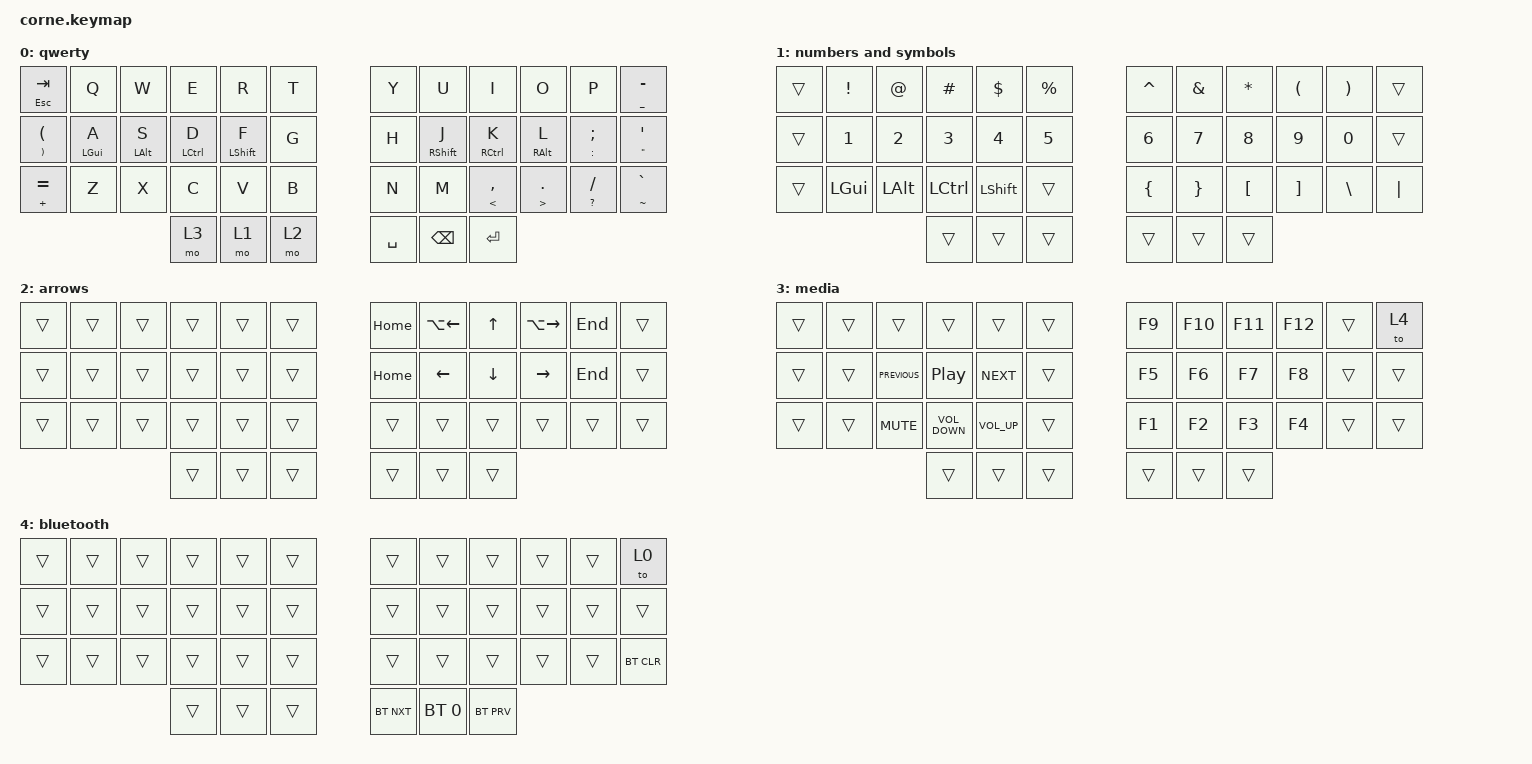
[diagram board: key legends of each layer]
/*
 * Copyright (c) 2020 The ZMK Contributors
 *
 * SPDX-License-Identifier: MIT
 */

#include <behaviors.dtsi>
#include <dt-bindings/zmk/bt.h>
#include <dt-bindings/zmk/keys.h>

&mt {
    tapping-term-ms = <150>;
    flavor = "tap-preferred";
    quick-tap-ms = <80>;
};

/ {
    keymap {
        compatible = "zmk,keymap";

        qwerty {
            display-name = "qwerty";

            // -----------------------------------------------------------------------------------------
            // |  TAB |  Q  |  W  |  E  |  R  |  T  |   |  Y  |  U   |  I  |  O  |  P  | BSPC |
            // | CTRL |  A  |  S  |  D  |  F  |  G  |   |  H  |  J   |  K  |  L  |  ;  |  '   |
            // | SHFT |  Z  |  X  |  C  |  V  |  B  |   |  N  |  M   |  ,  |  .  |  /  | ESC  |
            //                    | GUI | LWR | SPC |   | ENT | RSE  | ALT |

            bindings = <
&mt ESCAPE TAB                          &kp Q           &kp W           &kp E        &kp R             &kp T    &kp Y      &kp U              &kp I                &kp O                    &kp P                &mt UNDERSCORE MINUS
&mt RIGHT_PARENTHESIS LEFT_PARENTHESIS  &mt LEFT_GUI A  &mt LEFT_ALT S  &mt LCTRL D  &mt LEFT_SHIFT F  &kp G    &kp H      &mt RIGHT_SHIFT J  &mt RCTRL K          &mt RIGHT_ALT L          &mt COLON SEMICOLON  &mt DOUBLE_QUOTES SINGLE_QUOTE
&mt PLUS EQUAL                          &kp Z           &kp X           &kp C        &kp V             &kp B    &kp N      &kp M              &mt LESS_THAN COMMA  &mt GREATER_THAN PERIOD  &mt QUESTION SLASH   &mt TILDE GRAVE
                                                                        &mo 3        &mo 1             &mo 2    &kp SPACE  &kp BACKSPACE      &kp ENTER
            >;
        };

        numbers_symbols {
            display-name = "numbers and symbols";

            // -----------------------------------------------------------------------------------------
            // |  TAB |  1  |  2  |  3  |  4  |  5  |   |  6  |  7  |  8  |  9  |  0  | BSPC |
            // | BTCLR| BT1 | BT2 | BT3 | BT4 | BT5 |   | LFT | DWN |  UP | RGT |     |      |
            // | SHFT |     |     |     |     |     |   |     |     |     |     |     |      |
            //                    | GUI |     | SPC |   | ENT |     | ALT |

            bindings = <
&trans  &kp EXCLAMATION  &kp AT_SIGN   &kp HASH      &kp DOLLAR      &kp PERCENT     &kp CARET       &kp AMPERSAND    &kp ASTERISK      &kp LEFT_PARENTHESIS  &kp RIGHT_PARENTHESIS  &trans
&trans  &kp NUMBER_1     &kp NUMBER_2  &kp NUMBER_3  &kp NUMBER_4    &kp NUMBER_5    &kp NUMBER_6    &kp NUMBER_7     &kp NUMBER_8      &kp NUMBER_9          &kp NUMBER_0           &trans
&trans  &kp LEFT_GUI     &kp LEFT_ALT  &kp LCTRL     &kp LEFT_SHIFT  &trans          &kp LEFT_BRACE  &kp RIGHT_BRACE  &kp LEFT_BRACKET  &kp RIGHT_BRACKET     &kp BACKSLASH          &kp PIPE
                                       &trans        &trans          &trans          &trans          &trans           &trans
            >;
        };

        arrows {
            display-name = "arrows";

            // -----------------------------------------------------------------------------------------
            // |  TAB |  !  |  @  |  #  |  $  |  %  |   |  ^  |  &  |  *  |  (  |  )  | BSPC |
            // | CTRL |     |     |     |     |     |   |  -  |  =  |  [  |  ]  |  \  |  `   |
            // | SHFT |     |     |     |     |     |   |  _  |  +  |  {  |  }  | "|" |  ~   |
            //                    | GUI |     | SPC |   | ENT |     | ALT |

            bindings = <
&trans  &trans  &trans  &trans  &trans  &trans    &kp HOME  &kp LA(LEFT)  &kp UP_ARROW  &kp LA(RIGHT)  &kp END  &trans
&trans  &trans  &trans  &trans  &trans  &trans    &kp HOME  &kp LEFT      &kp DOWN      &kp RIGHT      &kp END  &trans
&trans  &trans  &trans  &trans  &trans  &trans    &trans    &trans        &trans        &trans         &trans   &trans
                        &trans  &trans  &trans    &trans    &trans        &trans
            >;
        };

        media {
            bindings = <
&trans  &trans  &trans          &trans             &trans           &trans    &kp F9  &kp F10  &kp F11  &kp F12  &trans  &to 4
&trans  &trans  &kp C_PREVIOUS  &kp C_PLAY_PAUSE   &kp C_NEXT       &trans    &kp F5  &kp F6   &kp F7   &kp F8   &trans  &trans
&trans  &trans  &kp C_MUTE      &kp C_VOLUME_DOWN  &kp C_VOLUME_UP  &trans    &kp F1  &kp F2   &kp F3   &kp F4   &trans  &trans
                                &trans             &trans           &trans    &trans  &trans   &trans
            >;
        };

        bluetooth {
            bindings = <
&trans  &trans  &trans  &trans  &trans  &trans    &trans      &trans        &trans      &trans  &trans  &to 0
&trans  &trans  &trans  &trans  &trans  &trans    &trans      &trans        &trans      &trans  &trans  &trans
&trans  &trans  &trans  &trans  &trans  &trans    &trans      &trans        &trans      &trans  &trans  &bt BT_CLR
                        &trans  &trans  &trans    &bt BT_NXT  &bt BT_SEL 0  &bt BT_PRV
            >;
        };
    };
};
